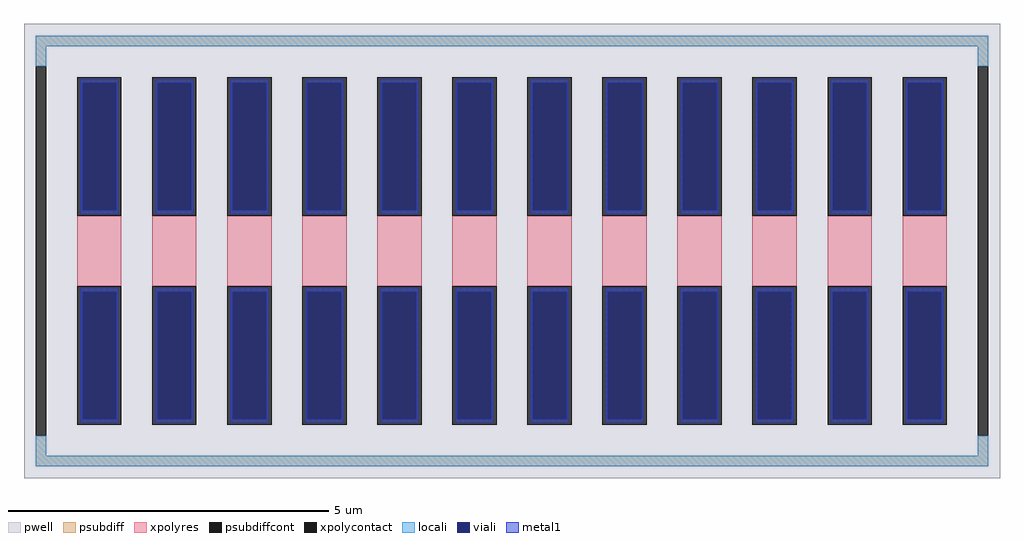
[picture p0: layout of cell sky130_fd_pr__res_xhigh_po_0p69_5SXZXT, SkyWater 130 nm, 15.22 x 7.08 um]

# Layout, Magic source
magic
tech sky130A
magscale 1 2
<< pwell >>
rect -1522 -708 1522 708
<< psubdiff >>
rect -1486 638 1486 672
rect -1486 576 -1452 638
rect 1452 576 1486 638
rect -1486 -638 -1452 -576
rect 1452 -638 1486 -576
rect -1486 -672 1486 -638
<< psubdiffcont >>
rect -1486 -576 -1452 576
rect 1452 -576 1486 576
<< xpolycontact >>
rect -1356 110 -1218 542
rect -1356 -542 -1218 -110
rect -1122 110 -984 542
rect -1122 -542 -984 -110
rect -888 110 -750 542
rect -888 -542 -750 -110
rect -654 110 -516 542
rect -654 -542 -516 -110
rect -420 110 -282 542
rect -420 -542 -282 -110
rect -186 110 -48 542
rect -186 -542 -48 -110
rect 48 110 186 542
rect 48 -542 186 -110
rect 282 110 420 542
rect 282 -542 420 -110
rect 516 110 654 542
rect 516 -542 654 -110
rect 750 110 888 542
rect 750 -542 888 -110
rect 984 110 1122 542
rect 984 -542 1122 -110
rect 1218 110 1356 542
rect 1218 -542 1356 -110
<< xpolyres >>
rect -1356 -110 -1218 110
rect -1122 -110 -984 110
rect -888 -110 -750 110
rect -654 -110 -516 110
rect -420 -110 -282 110
rect -186 -110 -48 110
rect 48 -110 186 110
rect 282 -110 420 110
rect 516 -110 654 110
rect 750 -110 888 110
rect 984 -110 1122 110
rect 1218 -110 1356 110
<< locali >>
rect -1486 638 1486 672
rect -1486 576 -1452 638
rect 1452 576 1486 638
rect -1486 -638 -1452 -576
rect 1452 -638 1486 -576
rect -1486 -672 1486 -638
<< viali >>
rect -1340 127 -1234 524
rect -1106 127 -1000 524
rect -872 127 -766 524
rect -638 127 -532 524
rect -404 127 -298 524
rect -170 127 -64 524
rect 64 127 170 524
rect 298 127 404 524
rect 532 127 638 524
rect 766 127 872 524
rect 1000 127 1106 524
rect 1234 127 1340 524
rect -1340 -524 -1234 -127
rect -1106 -524 -1000 -127
rect -872 -524 -766 -127
rect -638 -524 -532 -127
rect -404 -524 -298 -127
rect -170 -524 -64 -127
rect 64 -524 170 -127
rect 298 -524 404 -127
rect 532 -524 638 -127
rect 766 -524 872 -127
rect 1000 -524 1106 -127
rect 1234 -524 1340 -127
<< metal1 >>
rect -1346 524 -1228 536
rect -1346 127 -1340 524
rect -1234 127 -1228 524
rect -1346 115 -1228 127
rect -1112 524 -994 536
rect -1112 127 -1106 524
rect -1000 127 -994 524
rect -1112 115 -994 127
rect -878 524 -760 536
rect -878 127 -872 524
rect -766 127 -760 524
rect -878 115 -760 127
rect -644 524 -526 536
rect -644 127 -638 524
rect -532 127 -526 524
rect -644 115 -526 127
rect -410 524 -292 536
rect -410 127 -404 524
rect -298 127 -292 524
rect -410 115 -292 127
rect -176 524 -58 536
rect -176 127 -170 524
rect -64 127 -58 524
rect -176 115 -58 127
rect 58 524 176 536
rect 58 127 64 524
rect 170 127 176 524
rect 58 115 176 127
rect 292 524 410 536
rect 292 127 298 524
rect 404 127 410 524
rect 292 115 410 127
rect 526 524 644 536
rect 526 127 532 524
rect 638 127 644 524
rect 526 115 644 127
rect 760 524 878 536
rect 760 127 766 524
rect 872 127 878 524
rect 760 115 878 127
rect 994 524 1112 536
rect 994 127 1000 524
rect 1106 127 1112 524
rect 994 115 1112 127
rect 1228 524 1346 536
rect 1228 127 1234 524
rect 1340 127 1346 524
rect 1228 115 1346 127
rect -1346 -127 -1228 -115
rect -1346 -524 -1340 -127
rect -1234 -524 -1228 -127
rect -1346 -536 -1228 -524
rect -1112 -127 -994 -115
rect -1112 -524 -1106 -127
rect -1000 -524 -994 -127
rect -1112 -536 -994 -524
rect -878 -127 -760 -115
rect -878 -524 -872 -127
rect -766 -524 -760 -127
rect -878 -536 -760 -524
rect -644 -127 -526 -115
rect -644 -524 -638 -127
rect -532 -524 -526 -127
rect -644 -536 -526 -524
rect -410 -127 -292 -115
rect -410 -524 -404 -127
rect -298 -524 -292 -127
rect -410 -536 -292 -524
rect -176 -127 -58 -115
rect -176 -524 -170 -127
rect -64 -524 -58 -127
rect -176 -536 -58 -524
rect 58 -127 176 -115
rect 58 -524 64 -127
rect 170 -524 176 -127
rect 58 -536 176 -524
rect 292 -127 410 -115
rect 292 -524 298 -127
rect 404 -524 410 -127
rect 292 -536 410 -524
rect 526 -127 644 -115
rect 526 -524 532 -127
rect 638 -524 644 -127
rect 526 -536 644 -524
rect 760 -127 878 -115
rect 760 -524 766 -127
rect 872 -524 878 -127
rect 760 -536 878 -524
rect 994 -127 1112 -115
rect 994 -524 1000 -127
rect 1106 -524 1112 -127
rect 994 -536 1112 -524
rect 1228 -127 1346 -115
rect 1228 -524 1234 -127
rect 1340 -524 1346 -127
rect 1228 -536 1346 -524
<< properties >>
string FIXED_BBOX -1469 -655 1469 655
string gencell sky130_fd_pr__res_xhigh_po_0p69
string library sky130
string parameters w 0.690 l 1.26 m 1 nx 12 wmin 0.690 lmin 0.50 rho 2000 val 4.197k dummy 0 dw 0.0 term 188.2 sterm 0.0 caplen 0 wmax 0.690 guard 1 glc 1 grc 1 gtc 0 gbc 0 compatible {sky130_fd_pr__res_xhigh_po_0p35  sky130_fd_pr__res_xhigh_po_0p69 sky130_fd_pr__res_xhigh_po_1p41  sky130_fd_pr__res_xhigh_po_2p85 sky130_fd_pr__res_xhigh_po_5p73} snake 0 full_metal 1 n_guard 0 hv_guard 0 vias 1 viagb 0 viagt 0 viagl 0 viagr 0
<< end >>
